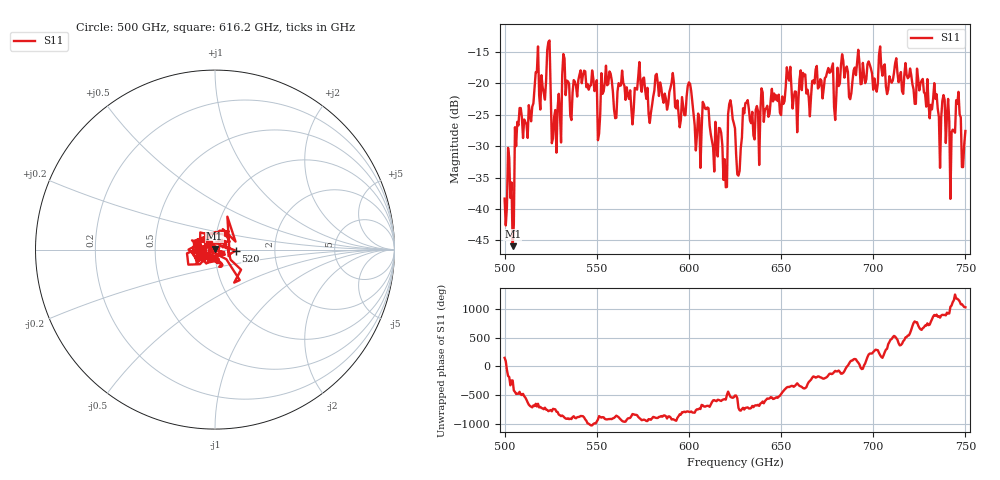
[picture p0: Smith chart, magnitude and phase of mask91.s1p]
!Created with skrf (http://scikit-rf.org).
# GHz S MA R 50.0
!freq magS11 angS11
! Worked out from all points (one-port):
!   401 points, 500 GHz to 750 GHz, reference 50 ohm
!   lowest |S11| = -45.9 dB at 504.4 GHz (marker M1), VSWR 1.01, Z = 49.8 + j0.453 ohm
!   |S11| at or under -10 dB: start of sweep to end of sweep
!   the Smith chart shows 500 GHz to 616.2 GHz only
!   S11 on the Smith chart (normalised r, x): 500 GHz: 0.98, +0.01; 520 GHz: 1.26, -0.01; 616.2 GHz: 0.94, +0.06
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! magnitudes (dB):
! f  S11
! 500 GHz  -38.4
! 504.4 GHz  -45.9
! 508.1 GHz  -23.9
! 520 GHz  -18.7
! 523.8 GHz  -13.4
! 526.9 GHz  -25.4
! 531.2 GHz  -18.7
! 542.5 GHz  -18.7
! 550.6 GHz  -29.1
! 562.5 GHz  -20.4
! 579.4 GHz  -24.7
! 590.6 GHz  -19.9
! 593.8 GHz  -22.7
! 600 GHz  -19.9
! 605 GHz  -24.8
! 608.8 GHz  -24.0
! 616.2 GHz  -27.1
! 619.4 GHz  -32.1
! 622.5 GHz  -22.7
! 625 GHz  -27.2
! 626.9 GHz  -34.7
! 630.6 GHz  -23.2
! 656.2 GHz  -24.0
! 687.5 GHz  -22.5
! 718.8 GHz  -19.2
! 743.1 GHz  -27.4
! 746.2 GHz  -21.4
! 750 GHz  -27.6
